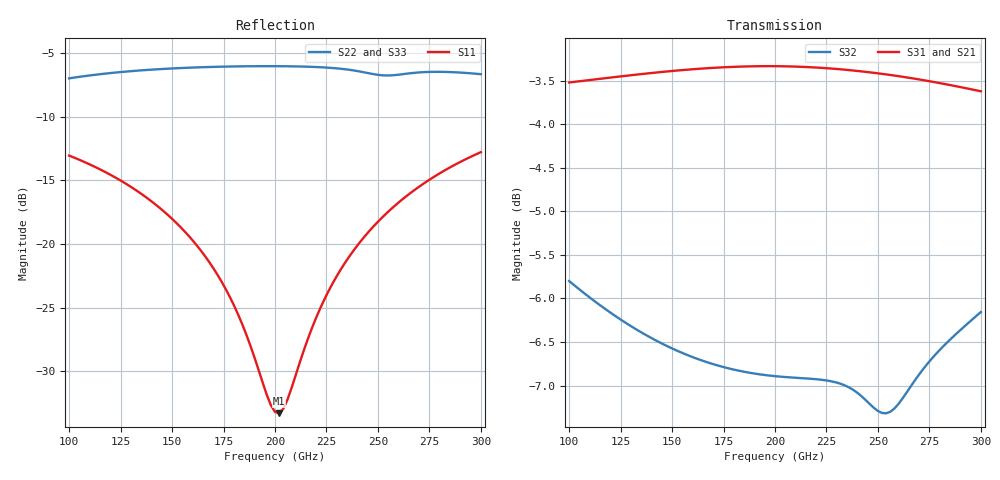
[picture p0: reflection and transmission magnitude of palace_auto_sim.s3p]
#  GHZ S DB R 50
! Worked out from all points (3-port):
!   101 points, 100 GHz to 300 GHz, reference 50 ohm
!   strongest paths, dB at 100 GHz, 150 GHz, 200 GHz, 250 GHz, 300 GHz:
!     S31: -3.5, -3.4, -3.3, -3.4, -3.6
!     S21: -3.5, -3.4, -3.3, -3.4, -3.6
!     S32: -5.8, -6.6, -6.9, -7.3, -6.2
!   lowest |S11| = -33.3 dB at 202 GHz (marker M1), VSWR 1.04, Z = 52.2 - j0.215 ohm
!   |S11| at or under -10 dB: start of sweep to end of sweep
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100  -13.06 131.0  -3.52 -44.1  -3.52 -44.2
     -3.52 -44.1  -7.00 50.2  -5.80 -98.3
     -3.52 -44.2  -5.80 -98.3  -7.00 50.1
136  -16.17 111.7  -3.42 -60.6  -3.42 -60.6
     -3.42 -60.6  -6.36 26.8  -6.40 -128.6
     -3.42 -60.6  -6.40 -128.6  -6.36 26.8
162  -20.11 94.7  -3.37 -72.7  -3.37 -72.7
     -3.37 -72.7  -6.14 12.7  -6.69 -149.8
     -3.37 -72.7  -6.69 -149.8  -6.14 12.7
180  -24.80 76.6  -3.34 -81.2  -3.34 -81.2
     -3.34 -81.2  -6.06 3.8  -6.82 -164.3
     -3.34 -81.2  -6.82 -164.3  -6.07 3.7
200  -33.19 8.7  -3.34 -90.7  -3.34 -90.8
     -3.34 -90.7  -6.04 -5.9  -6.89 179.5
     -3.34 -90.8  -6.89 179.5  -6.05 -5.9
202  -33.29 -5.5  -3.34 -91.7  -3.34 -91.7
     -3.34 -91.7  -6.05 -6.9  -6.90 177.9
     -3.34 -91.7  -6.90 177.9  -6.05 -6.9
222  -25.04 -78.9  -3.35 -101.2  -3.35 -101.3
     -3.35 -101.2  -6.13 -16.7  -6.93 161.3
     -3.35 -101.3  -6.93 161.3  -6.13 -16.7
240  -20.12 -97.7  -3.39 -109.8  -3.39 -109.8
     -3.39 -109.8  -6.43 -25.6  -7.08 146.1
     -3.39 -109.8  -7.08 146.1  -6.43 -25.7
266  -15.97 -115.0  -3.48 -122.1  -3.47 -122.1
     -3.48 -122.1  -6.59 -34.3  -7.01 129.2
     -3.47 -122.1  -7.01 129.2  -6.60 -34.3
300  -12.79 -133.4  -3.63 -137.9  -3.62 -138.0
     -3.63 -137.9  -6.67 -55.0  -6.16 100.2
     -3.62 -138.0  -6.16 100.2  -6.68 -55.0
